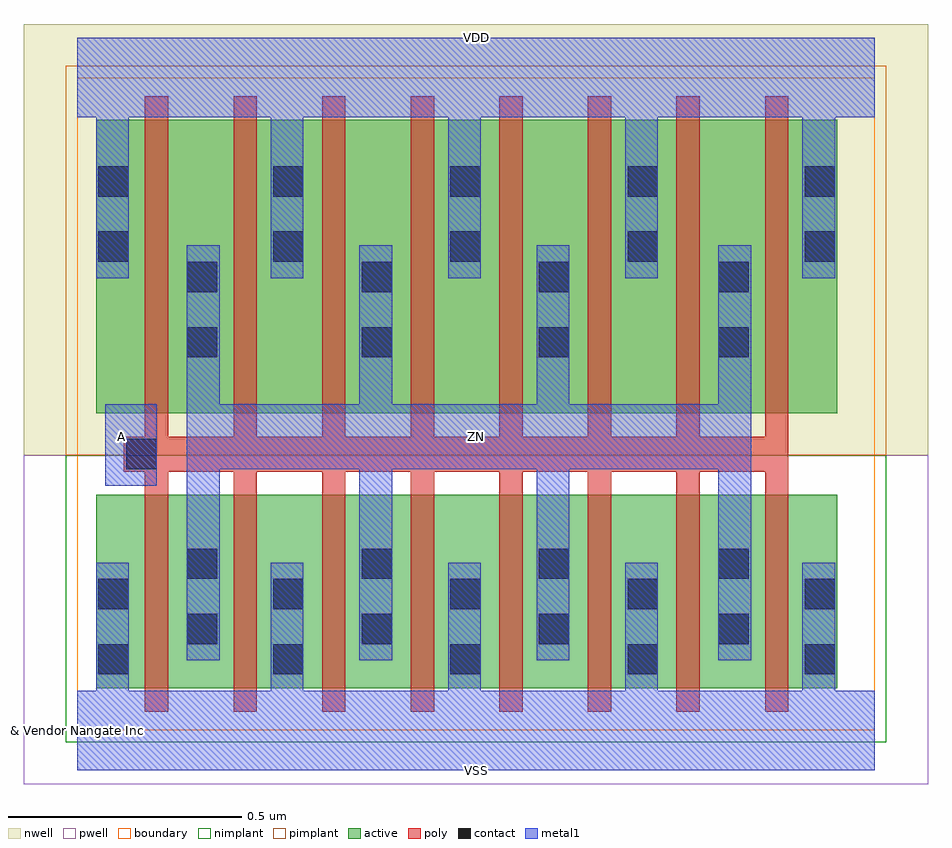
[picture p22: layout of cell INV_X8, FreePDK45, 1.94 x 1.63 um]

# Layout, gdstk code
import gdstk
lib = gdstk.Library(unit=1e-6, precision=1e-10)
def R(c, l, rs):  # rectangles x0, y0, x1, y1
    for r in rs: c.add(gdstk.rectangle(r[:2], r[2:], *l))
def A(c, l, x, y, w, h, nx, ny, dx, dy):  # array of equal rectangles
    R(c, l, [(x+i*dx, y+j*dy, x+i*dx+w, y+j*dy+h) for i in range(nx) for j in range(ny)])
def P(c, l, *ps):  # polygons
    for p in ps: c.add(gdstk.Polygon(p, *l))
active = (1, 0)
pwell = (2, 0)
nwell = (3, 0)
nimplant = (4, 0)
pimplant = (5, 0)
poly = (9, 0)
contact = (10, 0)
metal1 = (11, 0)
boundary = (235, 0)

inv_x8 = lib.new_cell('INV_X8')
R(inv_x8, active, [(0.04,0.09,1.63,0.505), (0.04,0.68,1.63,1.31)])
R(inv_x8, pwell, [(-0.115,-0.115,1.825,0.59)])
R(inv_x8, nwell, [(-0.115,0.59,1.825,1.515)])
R(inv_x8, nimplant, [(-0.025,-0.025,1.735,0.59)])
R(inv_x8, pimplant, [(-0.025,0.59,1.735,1.425)])
P(inv_x8, poly, [(0.145,0.04),(0.145,0.555),(0.1,0.555),(0.1,0.63),(0.145,0.63),(0.145,1.36),(0.195,1.36),(0.195,0.63),(0.335,0.63),(0.335,1.36),(0.385,1.36),(0.385,0.63),(0.525,0.63),(0.525,1.36),(0.575,1.36),(0.575,0.63),(0.715,0.63),(0.715,1.36),(0.765,1.36),(0.765,0.63),(0.905,0.63),(0.905,1.36),(0.955,1.36),(0.955,0.63),(1.095,0.63),(1.095,1.36),(1.145,1.36),(1.145,0.63),(1.285,0.63),(1.285,1.36),(1.335,1.36),(1.335,0.63),(1.475,0.63),(1.475,1.36),(1.525,1.36),(1.525,0.04),(1.475,0.04),(1.475,0.555),(1.335,0.555),(1.335,0.04),(1.285,0.04),(1.285,0.555),(1.145,0.555),(1.145,0.04),(1.095,0.04),(1.095,0.555),(0.955,0.555),(0.955,0.04),(0.905,0.04),(0.905,0.555),(0.765,0.555),(0.765,0.04),(0.715,0.04),(0.715,0.555),(0.575,0.555),(0.575,0.04),(0.525,0.04),(0.525,0.555),(0.385,0.555),(0.385,0.04),(0.335,0.04),(0.335,0.555),(0.195,0.555),(0.195,0.04)])
A(inv_x8, contact, 0.42, 0.12, 0.065, 0.065, 4, 2, 0.38, 0.14)
A(inv_x8, contact, 0.42, 1.005, 0.065, 0.065, 4, 2, 0.38, 0.14)
R(inv_x8, contact, [(0.045,0.12,0.11,0.185), (0.235,0.185,0.3,0.25), (0.61,0.185,0.675,0.25), (0.99,0.185,1.055,0.25), (1.375,0.185,1.44,0.25), (0.045,0.26,0.11,0.325), (0.235,0.325,0.3,0.39), (0.61,0.325,0.675,0.39), (0.99,0.325,1.055,0.39), (1.375,0.325,1.44,0.39), (0.105,0.56,0.17,0.625), (0.235,0.8,0.3,0.865), (0.61,0.8,0.675,0.865), (0.99,0.8,1.055,0.865), (1.375,0.8,1.44,0.865), (0.235,0.94,0.3,1.005), (0.61,0.94,0.675,1.005), (0.99,0.94,1.055,1.005), (1.375,0.94,1.44,1.005), (0.045,1.005,0.11,1.07), (0.045,1.145,0.11,1.21)])
R(inv_x8, metal1, [(0.06,0.525,0.17,0.7)])
P(inv_x8, metal1, [(0.235,0.15),(0.235,1.04),(0.305,1.04),(0.305,0.7),(0.605,0.7),(0.605,1.04),(0.675,1.04),(0.675,0.7),(0.985,0.7),(0.985,1.04),(1.055,1.04),(1.055,0.7),(1.375,0.7),(1.375,1.04),(1.445,1.04),(1.445,0.15),(1.375,0.15),(1.375,0.56),(1.055,0.56),(1.055,0.15),(0.985,0.15),(0.985,0.56),(0.675,0.56),(0.675,0.15),(0.605,0.15),(0.605,0.56),(0.305,0.56),(0.305,0.15)],
  [(0,-0.085),(0,0.085),(0.04,0.085),(0.04,0.36),(0.11,0.36),(0.11,0.085),(0.415,0.085),(0.415,0.36),(0.485,0.36),(0.485,0.085),(0.795,0.085),(0.795,0.36),(0.865,0.36),(0.865,0.085),(1.175,0.085),(1.175,0.36),(1.245,0.36),(1.245,0.085),(1.555,0.085),(1.555,0.36),(1.625,0.36),(1.625,0.085),(1.71,0.085),(1.71,-0.085)],
  [(0.04,0.97),(0.04,1.315),(0,1.315),(0,1.485),(1.71,1.485),(1.71,1.315),(1.625,1.315),(1.625,0.97),(1.555,0.97),(1.555,1.315),(1.245,1.315),(1.245,0.97),(1.175,0.97),(1.175,1.315),(0.865,1.315),(0.865,0.97),(0.795,0.97),(0.795,1.315),(0.485,1.315),(0.485,0.97),(0.415,0.97),(0.415,1.315),(0.11,1.315),(0.11,0.97)])
R(inv_x8, boundary, [(0,0,1.71,1.4)])
inv_x8.add(gdstk.Label('A', (0.095,0.63), layer=11, texttype=0))
inv_x8.add(gdstk.Label('VDD', (0.855,1.485), layer=11, texttype=0))
inv_x8.add(gdstk.Label('VSS', (0.855,-0.085), layer=11, texttype=0))
inv_x8.add(gdstk.Label('ZN', (0.855,0.63), layer=11, texttype=0))
inv_x8.add(gdstk.Label('& Vendor Nangate Inc', (0,0), layer=63, texttype=63))
inv_x8.add(gdstk.Label('& Product Open Cell Library', (0,0), layer=63, texttype=63))
inv_x8.add(gdstk.Label('& Version 2010_12', (0,0), layer=63, texttype=63))
inv_x8.add(gdstk.Label('& Instance INV_X8', (0,0), layer=63, texttype=63))

lib.write_gds('INV_X8.gds')
